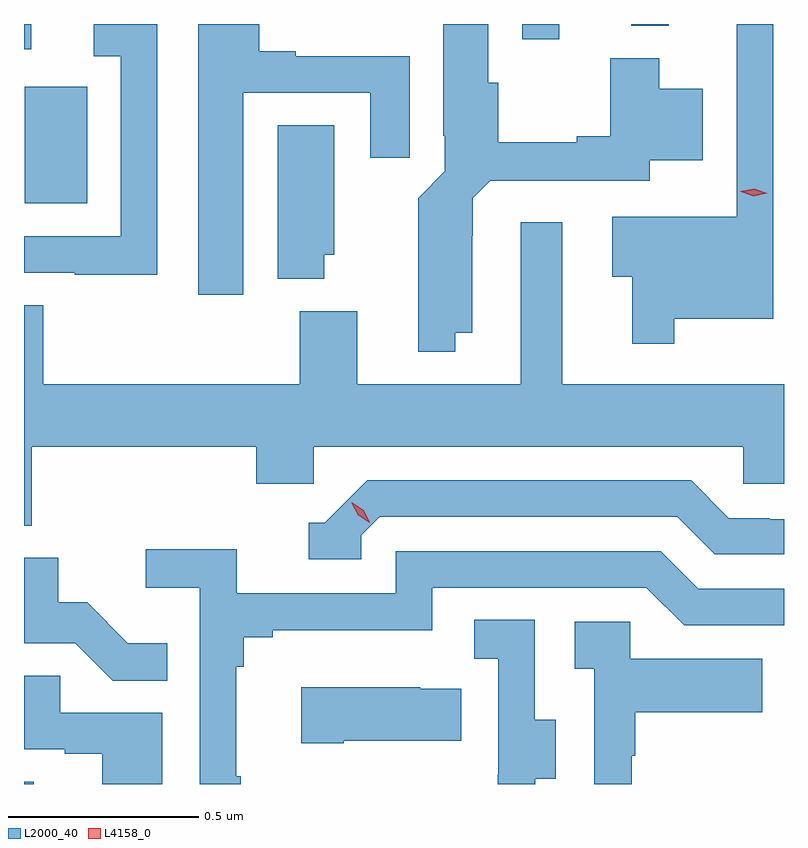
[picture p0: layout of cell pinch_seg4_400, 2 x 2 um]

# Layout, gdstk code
import gdstk
lib = gdstk.Library(unit=1e-6, precision=1e-09)
def R(c, l, rs):  # rectangles x0, y0, x1, y1
    for r in rs: c.add(gdstk.rectangle(r[:2], r[2:], *l))
def P(c, l, *ps):  # polygons
    for p in ps: c.add(gdstk.Polygon(p, *l))
L2000_40 = (2000, 40)
L4158_0 = (4158, 0)

pinch_seg4_400 = lib.new_cell('pinch_seg4_400')
R(pinch_seg4_400, L2000_40, [(973.662,787.94,973.687,787.946), (973.664,789.468,973.828,789.775), (973.662,789.874,973.681,789.94), (974.973,789.9,975.071,789.94), (975.26,789.935,975.359,789.94)])
P(pinch_seg4_400, L2000_40, [(974.797,789.128),(974.842,789.128),(974.842,789.383),(974.843,789.383),(974.843,789.482),(974.889,789.528),(975.309,789.528),(975.309,789.581),(975.448,789.581),(975.448,789.769),(975.334,789.769),(975.334,789.85),(975.205,789.85),(975.205,789.644),(975.116,789.644),(975.116,789.629),(974.91,789.629),(974.91,789.786),(974.884,789.786),(974.884,789.94),(974.765,789.94),(974.765,789.646),(974.769,789.646),(974.769,789.552),(974.699,789.482),(974.699,789.38),(974.7,789.38),(974.7,789.077),(974.797,789.077)],
  [(975.373,789.164),(975.634,789.164),(975.634,789.94),(975.537,789.94),(975.537,789.433),(975.21,789.433),(975.21,789.275),(975.263,789.275),(975.263,789.099),(975.373,789.099)],
  [(974.013,789.94),(973.845,789.94),(973.845,789.855),(973.917,789.855),(973.917,789.381),(973.662,789.381),(973.662,789.285),(973.795,789.285),(973.795,789.28),(974.013,789.28)],
  [(974.239,789.759),(974.573,789.759),(974.573,789.588),(974.677,789.588),(974.677,789.855),(974.377,789.855),(974.377,789.868),(974.281,789.868),(974.281,789.94),(974.12,789.94),(974.12,789.228),(974.239,789.228)],
  [(974.452,789.333),(974.479,789.333),(974.479,789.674),(974.33,789.674),(974.33,789.269),(974.452,789.269)],
  [(973.682,788.828),(974.273,788.828),(974.273,788.73),(974.424,788.73),(974.424,788.828),(975.555,788.828),(975.555,788.73),(975.662,788.73),(975.662,788.992),(975.079,788.992),(975.079,789.418),(974.969,789.418),(974.969,788.992),(974.539,788.992),(974.539,789.184),(974.387,789.184),(974.387,788.992),(973.712,788.992),(973.712,789.2),(973.662,789.2),(973.662,788.62),(973.682,788.62)],
  [(974.55,788.595),(974.598,788.643),(975.381,788.643),(975.48,788.544),(975.662,788.544),(975.662,788.637),(975.624,788.637),(975.624,788.64),(975.517,788.64),(975.418,788.739),(974.565,788.739),(974.454,788.628),(974.411,788.628),(974.411,788.532),(974.55,788.532)],
  [(974.233,787.961),(974.221,787.961),(974.221,788.249),(974.24,788.249),(974.24,788.326),(974.317,788.326),(974.317,788.345),(974.736,788.345),(974.736,788.457),(975.3,788.457),(975.399,788.358),(975.662,788.358),(975.662,788.454),(975.436,788.454),(975.337,788.553),(974.64,788.553),(974.64,788.442),(974.222,788.442),(974.222,788.558),(973.983,788.558),(973.983,788.456),(974.124,788.456),(974.124,787.94),(974.233,787.94)],
  [(974.039,788.311),(973.935,788.311),(973.828,788.418),(973.752,788.418),(973.752,788.535),(973.662,788.535),(973.662,788.31),(973.797,788.31),(973.895,788.212),(974.039,788.212)],
  [(975.007,787.954),(975.061,787.954),(975.061,788.109),(975.006,788.109),(975.006,788.372),(974.847,788.372),(974.847,788.269),(974.91,788.269),(974.91,787.965),(974.909,787.965),(974.909,787.94),(975.007,787.94)],
  [(975.261,788.015),(975.271,788.015),(975.271,788.129),(975.605,788.129),(975.605,788.269),(975.258,788.269),(975.258,788.367),(975.111,788.367),(975.111,788.243),(975.162,788.243),(975.162,787.94),(975.261,787.94)],
  [(974.026,788.127),(973.757,788.127),(973.757,788.225),(973.662,788.225),(973.662,788.031),(973.769,788.031),(973.769,788.019),(973.868,788.019),(973.868,787.94),(974.026,787.94)],
  [(974.503,788.054),(974.813,788.054),(974.813,788.191),(974.705,788.191),(974.705,788.194),(974.391,788.194),(974.391,788.047),(974.503,788.047)])
P(pinch_seg4_400, L4158_0, [(974.572,788.628),(974.541,788.647),(974.525,788.679),(974.525,788.68),(974.526,788.68),(974.556,788.66),(974.572,788.628),(974.572,788.628)],
  [(975.582,789.487),(975.548,789.499),(975.548,789.499),(975.548,789.5),(975.584,789.507),(975.618,789.494),(975.618,789.494),(975.618,789.494)])

lib.write_gds('pinch_seg4_400.gds')
